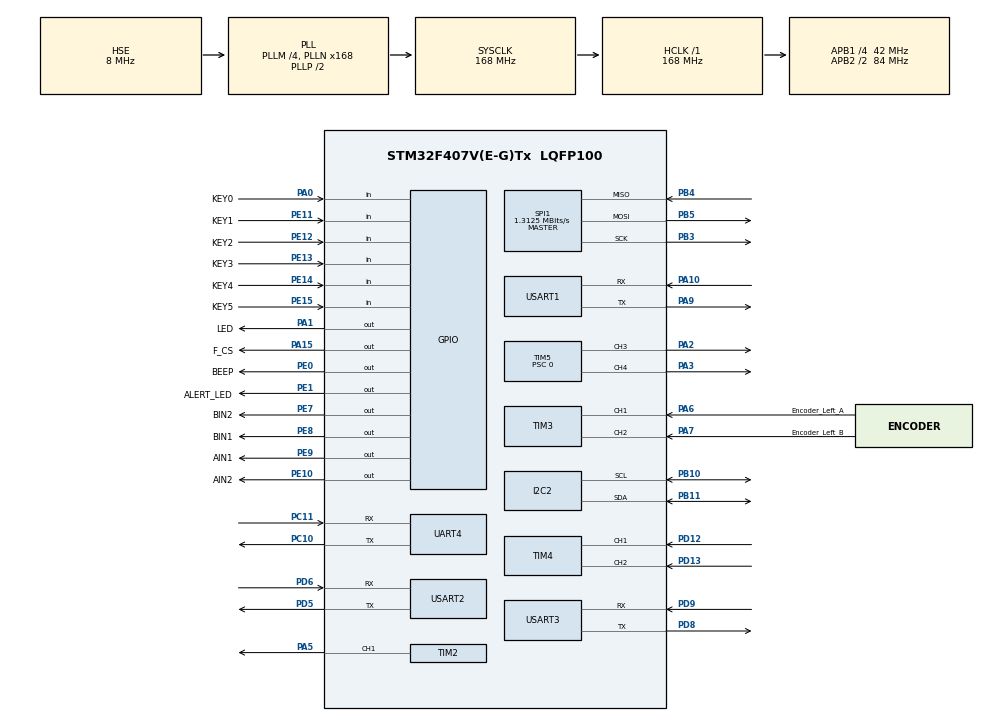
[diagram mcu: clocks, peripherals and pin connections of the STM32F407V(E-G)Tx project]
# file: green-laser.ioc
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Dma.Request0=USART1_RX
Dma.Request1=USART2_RX
Dma.Request2=USART3_RX
Dma.Request3=UART4_RX
Dma.UART4_RX.3.Direction=DMA_PERIPH_TO_MEMORY
Dma.UART4_RX.3.FIFOMode=DMA_FIFOMODE_DISABLE
Dma.UART4_RX.3.Instance=DMA1_Stream2
Dma.UART4_RX.3.MemDataAlignment=DMA_MDATAALIGN_BYTE
Dma.UART4_RX.3.MemInc=DMA_MINC_ENABLE
Dma.UART4_RX.3.Mode=DMA_NORMAL
Dma.UART4_RX.3.PeriphDataAlignment=DMA_PDATAALIGN_BYTE
Dma.UART4_RX.3.PeriphInc=DMA_PINC_DISABLE
Dma.UART4_RX.3.Priority=DMA_PRIORITY_LOW
Dma.USART1_RX.0.Direction=DMA_PERIPH_TO_MEMORY
Dma.USART1_RX.0.FIFOMode=DMA_FIFOMODE_DISABLE
Dma.USART1_RX.0.Instance=DMA2_Stream2
Dma.USART1_RX.0.MemDataAlignment=DMA_MDATAALIGN_BYTE
Dma.USART1_RX.0.MemInc=DMA_MINC_ENABLE
Dma.USART1_RX.0.Mode=DMA_NORMAL
Dma.USART1_RX.0.PeriphDataAlignment=DMA_PDATAALIGN_BYTE
Dma.USART1_RX.0.PeriphInc=DMA_PINC_DISABLE
Dma.USART1_RX.0.Priority=DMA_PRIORITY_LOW
Dma.USART2_RX.1.Direction=DMA_PERIPH_TO_MEMORY
Dma.USART2_RX.1.FIFOMode=DMA_FIFOMODE_DISABLE
Dma.USART2_RX.1.Instance=DMA1_Stream5
Dma.USART2_RX.1.MemDataAlignment=DMA_MDATAALIGN_BYTE
Dma.USART2_RX.1.MemInc=DMA_MINC_ENABLE
Dma.USART2_RX.1.Mode=DMA_NORMAL
Dma.USART2_RX.1.PeriphDataAlignment=DMA_PDATAALIGN_BYTE
Dma.USART2_RX.1.PeriphInc=DMA_PINC_DISABLE
Dma.USART2_RX.1.Priority=DMA_PRIORITY_LOW
Dma.USART3_RX.2.Direction=DMA_PERIPH_TO_MEMORY
Dma.USART3_RX.2.FIFOMode=DMA_FIFOMODE_DISABLE
Dma.USART3_RX.2.Instance=DMA1_Stream1
Dma.USART3_RX.2.MemDataAlignment=DMA_MDATAALIGN_BYTE
Dma.USART3_RX.2.MemInc=DMA_MINC_ENABLE
Dma.USART3_RX.2.Mode=DMA_NORMAL
Dma.USART3_RX.2.PeriphDataAlignment=DMA_PDATAALIGN_BYTE
Dma.USART3_RX.2.PeriphInc=DMA_PINC_DISABLE
Dma.USART3_RX.2.Priority=DMA_PRIORITY_LOW
I2C2.I2C_Mode=I2C_Fast
Mcu.Family=STM32F4
Mcu.Name=STM32F407V(E-G)Tx
Mcu.Package=LQFP100
NVIC.DMA1_Stream1_IRQn=true\:0\:0\:false\:false\:true\:false\:true\:true
NVIC.DMA1_Stream2_IRQn=true\:0\:0\:false\:false\:true\:false\:true\:true
NVIC.DMA1_Stream5_IRQn=true\:0\:0\:false\:false\:true\:false\:true\:true
NVIC.DMA2_Stream2_IRQn=true\:0\:0\:false\:false\:true\:false\:true\:true
NVIC.PriorityGroup=NVIC_PRIORITYGROUP_4
NVIC.TIM5_IRQn=true\:0\:0\:false\:false\:true\:true\:true\:true
NVIC.TIM6_DAC_IRQn=true\:0\:0\:false\:false\:true\:true\:true\:true
NVIC.UART4_IRQn=true\:0\:0\:false\:false\:true\:true\:true\:true
NVIC.USART1_IRQn=true\:0\:0\:false\:false\:true\:true\:true\:true
NVIC.USART2_IRQn=true\:0\:0\:false\:false\:true\:true\:true\:true
NVIC.USART3_IRQn=true\:0\:0\:false\:false\:true\:true\:true\:true
PA0-WKUP.GPIO_Label=KEY0
PA0-WKUP.GPIO_PuPd=GPIO_PULLDOWN
PA0-WKUP.Signal=GPIO_Input
PA1.GPIO_Label=LED
PA1.Signal=GPIO_Output
PA10.Mode=Asynchronous
PA10.Signal=USART1_RX
PA13.Mode=Serial_Wire
PA13.Signal=SYS_JTMS-SWDIO
PA14.Mode=Serial_Wire
PA14.Signal=SYS_JTCK-SWCLK
PA15.GPIO_Label=F_CS
PA15.Signal=GPIO_Output
PA2.Signal=S_TIM5_CH3
PA3.Signal=S_TIM5_CH4
PA5.Signal=S_TIM2_CH1_ETR
PA6.GPIO_Label=Encoder_Left_A
PA6.Signal=S_TIM3_CH1
PA7.GPIO_Label=Encoder_Left_B
PA7.Signal=S_TIM3_CH2
PA9.Mode=Asynchronous
PA9.Signal=USART1_TX
PB10.Mode=I2C
PB10.Signal=I2C2_SCL
PB11.Mode=I2C
PB11.Signal=I2C2_SDA
PB3.Mode=Full_Duplex_Master
PB3.Signal=SPI1_SCK
PB4.Mode=Full_Duplex_Master
PB4.Signal=SPI1_MISO
PB5.Mode=Full_Duplex_Master
PB5.Signal=SPI1_MOSI
PC10.Mode=Asynchronous
PC10.Signal=UART4_TX
PC11.Mode=Asynchronous
PC11.Signal=UART4_RX
PD12.Signal=S_TIM4_CH1
PD13.Signal=S_TIM4_CH2
PD5.Mode=Asynchronous
PD5.Signal=USART2_TX
PD6.Mode=Asynchronous
PD6.Signal=USART2_RX
PD8.Mode=Asynchronous
PD8.Signal=USART3_TX
PD9.Mode=Asynchronous
PD9.Signal=USART3_RX
PE0.GPIO_Label=BEEP
PE0.Signal=GPIO_Output
PE1.GPIO_Label=ALERT_LED
PE1.Signal=GPIO_Output
PE10.GPIO_Label=AIN2
PE10.Signal=GPIO_Output
PE11.GPIO_Label=KEY1
PE11.GPIO_PuPd=GPIO_PULLUP
PE11.Signal=GPIO_Input
PE12.GPIO_Label=KEY2
PE12.GPIO_PuPd=GPIO_PULLUP
PE12.Signal=GPIO_Input
PE13.GPIO_Label=KEY3
PE13.GPIO_PuPd=GPIO_PULLUP
PE13.Signal=GPIO_Input
PE14.GPIO_Label=KEY4
PE14.GPIO_PuPd=GPIO_PULLUP
PE14.Signal=GPIO_Input
PE15.GPIO_Label=KEY5
PE15.GPIO_PuPd=GPIO_PULLUP
PE15.Signal=GPIO_Input
PE7.GPIO_Label=BIN2
PE7.Signal=GPIO_Output
PE8.GPIO_Label=BIN1
PE8.Signal=GPIO_Output
PE9.GPIO_Label=AIN1
PE9.Signal=GPIO_Output
PH0-OSC_IN.Mode=HSE-External-Oscillator
PH0-OSC_IN.Signal=RCC_OSC_IN
PH1-OSC_OUT.Mode=HSE-External-Oscillator
PH1-OSC_OUT.Signal=RCC_OSC_OUT
ProjectManager.HeapSize=0x200
ProjectManager.StackSize=0x400
ProjectManager.TargetToolchain=STM32CubeIDE
RCC.48MHZClocksFreq_Value=48000000
RCC.AHBFreq_Value=168000000
RCC.APB1CLKDivider=RCC_HCLK_DIV4
RCC.APB1Freq_Value=42000000
RCC.APB1TimFreq_Value=84000000
RCC.APB2CLKDivider=RCC_HCLK_DIV2
RCC.APB2Freq_Value=84000000
RCC.APB2TimFreq_Value=168000000
RCC.CortexFreq_Value=168000000
RCC.HCLKFreq_Value=168000000
RCC.HSE_VALUE=8000000
RCC.HSI_VALUE=16000000
RCC.LSE_VALUE=32768
RCC.PLLM=4
RCC.PLLN=168
RCC.PLLQ=7
RCC.PLLSourceVirtual=RCC_PLLSOURCE_HSE
RCC.SYSCLKFreq_VALUE=168000000
RCC.SYSCLKSource=RCC_SYSCLKSOURCE_PLLCLK
RCC.VCOOutputFreq_Value=336000000
SH.S_TIM2_CH1_ETR.0=TIM2_CH1,PWM Generation1 CH1
SH.S_TIM3_CH1.0=TIM3_CH1,Encoder_Interface
SH.S_TIM3_CH2.0=TIM3_CH2,Encoder_Interface
SH.S_TIM4_CH1.0=TIM4_CH1,Encoder_Interface
SH.S_TIM4_CH2.0=TIM4_CH2,Encoder_Interface
SH.S_TIM5_CH3.0=TIM5_CH3,PWM Generation3 CH3
SH.S_TIM5_CH4.0=TIM5_CH4,PWM Generation4 CH4
SPI1.BaudRatePrescaler=SPI_BAUDRATEPRESCALER_64
SPI1.CalculateBaudRate=1.3125 MBits/s
SPI1.Direction=SPI_DIRECTION_2LINES
SPI1.Mode=SPI_MODE_MASTER
SPI1.VirtualType=VM_MASTER
TIM2.Channel-PWM\ Generation1\ CH1=TIM_CHANNEL_1
TIM2.Period=16800-1
TIM3.EncoderMode=TIM_ENCODERMODE_TI12
TIM4.EncoderMode=TIM_ENCODERMODE_TI12
TIM5.Channel-PWM\ Generation3\ CH3=TIM_CHANNEL_3
TIM5.Channel-PWM\ Generation4\ CH4=TIM_CHANNEL_4
TIM5.Period=280000-1
TIM5.Prescaler=0
TIM6.Period=100-1
TIM6.Prescaler=16800-1
UART4.VirtualMode=Asynchronous
USART1.VirtualMode=VM_ASYNC
USART2.VirtualMode=VM_ASYNC
USART3.VirtualMode=VM_ASYNC
VP_RNG_VS_RNG.Mode=RNG_Activate
VP_TIM5_VS_ClockSourceINT.Mode=Internal
VP_TIM6_VS_ClockSourceINT.Mode=Enable_Timer
VP_TIM7_VS_ClockSourceINT.Mode=Enable_Timer
board=custom

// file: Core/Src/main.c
/* USER CODE BEGIN Header */
/**
  ******************************************************************************
  * @file           : main.c
  * @brief          : Main program body
  ******************************************************************************
  * @attention
  *
  * Copyright (c) 2023 STMicroelectronics.
  * All rights reserved.
  *
  * This software is licensed under terms that can be found in the LICENSE file
  * in the root directory of this software component.
  * If no LICENSE file comes with this software, it is provided AS-IS.
  *
  ******************************************************************************
  */
/* USER CODE END Header */
#include "main.h"
#include "dma.h"
#include "i2c.h"
#include "rng.h"
#include "spi.h"
#include "tim.h"
#include "usart.h"
#include "gpio.h"

/* USER CODE BEGIN Includes */
#include "steer.h"
#include "fezui.h"
#include "communication.h"
#include "pid-control.h"
#include "queue.h"

/* USER CODE END Includes */

/* USER CODE BEGIN PV */
cartesian_coordinate_system_t central_point = {X_CENTRAL,Y_CENTRAL,Z_CENTRAL};
cartesian_coordinate_system_t f_point = {250,Y_CENTRAL,194};
cartesian_coordinate_system_t k_point = {-250,Y_CENTRAL,-100};
cartesian_coordinate_system_t *temp_point;

/* USER CODE END PV */

void SystemClock_Config(void);

/* USER CODE BEGIN 0 */

#define CPU_FREQUENCY_MHZ    168//
void delay_us(__IO uint32_t delay)
{
  int last, curr, val;  int temp;
  while (delay != 0)
  {
    temp = delay > 900 ? 900 : delay;
    last = SysTick->VAL;
    curr = last - CPU_FREQUENCY_MHZ * temp;
    if (curr >= 0)
    {
      do{ val = SysTick->VAL; }
      while ((val < last) && (val >= curr));
    }
    else
    {
       curr += CPU_FREQUENCY_MHZ * 1000;
       do{ val = SysTick->VAL;  }
       while ((val <= last) || (val > curr));
    }
       delay -= temp;
  }
}

#define FAULT_TOLERANT 6 //容错，单位mm
#define ALERT_TOLERANT 8 //容错，单位mm
void HAL_TIM_PeriodElapsedCallback(TIM_HandleTypeDef *htim)
{
    if (htim->Instance == TIM6)
    {

#if PAUSE_ENABLE  == 1
        lefl_key_update(&pause_key, !HAL_GPIO_ReadPin(KEY5_GPIO_Port, KEY5_Pin));
        if(paused)
        {
            STEER_TIMER_STOP();
            while(paused)
            {
                lefl_key_update(&pause_key, !HAL_GPIO_ReadPin(KEY5_GPIO_Port, KEY5_Pin));
                fezui_paused();
            }
            STEER_TIMER_START();
        }

#endif
        if(fabs(phi_pid.errdat)>FAULT_TOLERANT)
        {
            phi_control();
        }
        if(fabs(theta_pid.errdat)>FAULT_TOLERANT)
        {
            theta_control();
        }
        if(fabs(phi_pid.errdat)<=ALERT_TOLERANT&&fabs(theta_pid.errdat)<ALERT_TOLERANT)
        {
            HAL_GPIO_WritePin(ALERT_LED_GPIO_Port, ALERT_LED_Pin, GPIO_PIN_SET);
            HAL_GPIO_WritePin(BEEP_GPIO_Port, BEEP_Pin, GPIO_PIN_RESET);
        }
        else
        {
            HAL_GPIO_WritePin(ALERT_LED_GPIO_Port, ALERT_LED_Pin, GPIO_PIN_RESET);
            HAL_GPIO_WritePin(BEEP_GPIO_Port, BEEP_Pin, GPIO_PIN_SET);

        }
    }
}

/* USER CODE END 0 */

int main(void)
{

  /* MCU Configuration--------------------------------------------------------*/

  /* Reset of all peripherals, Initializes the Flash interface and the Systick. */
  HAL_Init();

  /* Configure the system clock */
  SystemClock_Config();

  /* Initialize all configured peripherals */
  MX_GPIO_Init();
  MX_DMA_Init();
  MX_I2C2_Init();
  MX_TIM2_Init();
  MX_TIM3_Init();
  MX_TIM4_Init();
  MX_TIM5_Init();
  MX_TIM6_Init();
  MX_TIM7_Init();
  MX_USART1_UART_Init();
  MX_USART2_UART_Init();
  MX_USART3_UART_Init();
  MX_UART4_Init();
  MX_SPI1_Init();
  MX_RNG_Init();
  /* USER CODE BEGIN 2 */

  HAL_TIM_PWM_Start(&htim5, TIM_CHANNEL_3);
  HAL_TIM_PWM_Start(&htim5, TIM_CHANNEL_4);
  Queue_Init(&point_queue, point_collection, 16);
  fezui_init();
  //HAL_TIM_Base_Start_IT(&htim5);
  Communication_Enable(&huart1,USART1_RX_Buffer,BUFFER_LENGTH);
  steer_set_cartesian(&central_point);
  theta_pid.last_pidout = steer_set_theta(90);
  theta_pid.pidout = steer_set_theta(90);
  phi_pid.last_pidout = steer_set_phi(90);
  phi_pid.pidout = steer_set_phi(90);
  //HAL_GPIO_WritePin(BEEP_GPIO_Port, BEEP_Pin, GPIO_PIN_RESET);
  /* USER CODE END 2 */

  /* Infinite loop */
  /* USER CODE BEGIN WHILE */
  while (1)
  {
      fezui_timer_handler();
    /* USER CODE END WHILE */

  }
}

void SystemClock_Config(void)
{
  RCC_OscInitTypeDef RCC_OscInitStruct = {0};
  RCC_ClkInitTypeDef RCC_ClkInitStruct = {0};

  /** Configure the main internal regulator output voltage
  */
  __HAL_RCC_PWR_CLK_ENABLE();
  __HAL_PWR_VOLTAGESCALING_CONFIG(PWR_REGULATOR_VOLTAGE_SCALE1);

  /** Initializes the RCC Oscillators according to the specified parameters
  * in the RCC_OscInitTypeDef structure.
  */
  RCC_OscInitStruct.OscillatorType = RCC_OSCILLATORTYPE_HSE;
  RCC_OscInitStruct.HSEState = RCC_HSE_ON;
  RCC_OscInitStruct.PLL.PLLState = RCC_PLL_ON;
  RCC_OscInitStruct.PLL.PLLSource = RCC_PLLSOURCE_HSE;
  RCC_OscInitStruct.PLL.PLLM = 4;
  RCC_OscInitStruct.PLL.PLLN = 168;
  RCC_OscInitStruct.PLL.PLLP = RCC_PLLP_DIV2;
  RCC_OscInitStruct.PLL.PLLQ = 7;
  if (HAL_RCC_OscConfig(&RCC_OscInitStruct) != HAL_OK)
  {
    Error_Handler();
  }

  /** Initializes the CPU, AHB and APB buses clocks
  */
  RCC_ClkInitStruct.ClockType = RCC_CLOCKTYPE_HCLK|RCC_CLOCKTYPE_SYSCLK
                              |RCC_CLOCKTYPE_PCLK1|RCC_CLOCKTYPE_PCLK2;
  RCC_ClkInitStruct.SYSCLKSource = RCC_SYSCLKSOURCE_PLLCLK;
  RCC_ClkInitStruct.AHBCLKDivider = RCC_SYSCLK_DIV1;
  RCC_ClkInitStruct.APB1CLKDivider = RCC_HCLK_DIV4;
  RCC_ClkInitStruct.APB2CLKDivider = RCC_HCLK_DIV2;

  if (HAL_RCC_ClockConfig(&RCC_ClkInitStruct, FLASH_LATENCY_5) != HAL_OK)
  {
    Error_Handler();
  }
}

void Error_Handler(void)
{
  __disable_irq();
  while (1)
  {
  }
}
